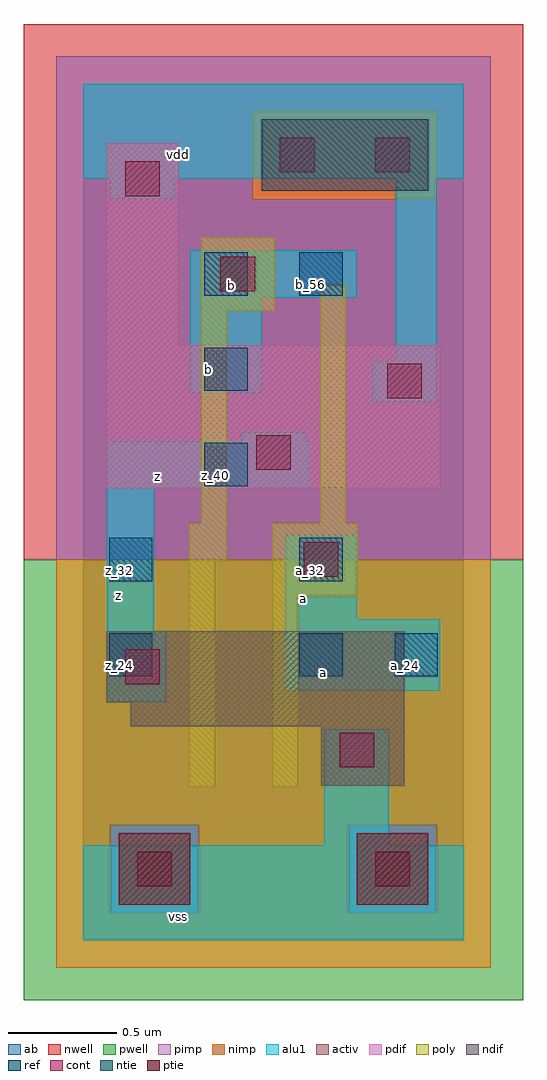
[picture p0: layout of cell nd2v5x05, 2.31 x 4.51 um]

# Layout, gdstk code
import gdstk
lib = gdstk.Library(unit=1e-6, precision=2.5e-09)
def R(c, l, rs):  # rectangles x0, y0, x1, y1
    for r in rs: c.add(gdstk.rectangle(r[:2], r[2:], *l))
def A(c, l, x, y, w, h, nx, ny, dx, dy):  # array of equal rectangles
    R(c, l, [(x+i*dx, y+j*dy, x+i*dx+w, y+j*dy+h) for i in range(nx) for j in range(ny)])
ndif = (3, 0)
pdif = (4, 0)
ntie = (5, 0)
ptie = (6, 0)
ref = (24, 0)
cont = (25, 0)
pwell = (41, 0)
nwell = (42, 0)
activ = (43, 0)
pimp = (44, 0)
nimp = (45, 0)
poly = (46, 0)
alu1 = (49, 0)
ab = (63, 0)

nd2v5x05 = lib.new_cell('nd2v5x05')
R(nd2v5x05, ndif, [(1.1,0.715,1.485,0.99), (0.22,0.99,1.485,1.1), (0.11,1.1,1.485,1.43)])
R(nd2v5x05, pdif, [(0.11,2.09,1.65,2.75), (0.11,2.75,0.44,3.685)])
R(nd2v5x05, ntie, [(0.825,3.465,1.595,3.795)])
R(nd2v5x05, ptie, [(0.165,0.165,0.495,0.495), (1.265,0.165,1.595,0.495)])
A(nd2v5x05, ref, 0.56, 2.1, 0.2, 0.2, 1, 3, 0, 0.44)
R(nd2v5x05, ref, [(0.12,1.22,0.32,1.42), (1,1.22,1.2,1.42), (1.44,1.22,1.64,1.42), (0.12,1.66,0.32,1.86), (1,1.66,1.2,1.86), (1,2.98,1.2,3.18)])
R(nd2v5x05, cont, [(0.25,0.25,0.41,0.41), (1.35,0.25,1.51,0.41), (1.185,0.8,1.345,0.96), (0.195,1.185,0.355,1.345), (1.02,1.68,1.18,1.84), (0.8,2.175,0.96,2.335), (1.405,2.505,1.565,2.665), (0.635,3,0.795,3.16), (0.195,3.44,0.355,3.6), (0.91,3.55,1.07,3.71), (1.35,3.55,1.51,3.71)])
R(nd2v5x05, pwell, [(-0.275,-0.275,2.035,1.76)])
R(nd2v5x05, nwell, [(-0.275,1.76,2.035,4.235)])
R(nd2v5x05, activ, [(0.165,0.165,0.495,0.495), (1.265,0.165,1.595,0.495), (1.1,0.715,1.485,0.99), (0.22,0.99,1.485,1.1), (0.11,1.1,1.485,1.43), (0.11,2.09,1.65,2.75), (0.11,2.75,0.44,3.685), (0.825,3.465,1.595,3.795)])
R(nd2v5x05, pimp, [(0.125,0.125,0.535,0.535), (1.225,0.125,1.635,0.535), (-0.125,1.76,1.885,3.425), (-0.125,3.425,0.785,3.835), (1.635,3.425,1.885,3.835), (-0.125,3.835,1.885,4.085)])
R(nd2v5x05, nimp, [(-0.125,-0.125,1.885,0.125), (-0.125,0.125,0.125,0.535), (0.535,0.125,1.225,0.535), (1.635,0.125,1.885,0.535), (-0.125,0.535,1.885,1.76), (0.785,3.425,1.635,3.835)])
R(nd2v5x05, poly, [(0.49,0.71,0.61,1.755), (0.875,0.71,0.995,1.59), (0.875,1.59,1.27,1.93), (0.49,1.755,0.665,1.93), (0.545,1.93,0.665,2.91), (1.095,1.93,1.215,3.03), (0.545,2.91,0.885,3.25)])
R(nd2v5x05, alu1, [(0,0,1.76,0.44), (1.115,0.44,1.415,0.975), (0.11,1.1,0.385,1.43), (0.935,1.155,1.65,1.485), (0.11,1.43,0.33,2.09), (0.935,1.485,1.265,1.87), (0.11,2.09,1.045,2.31), (0.73,2.31,1.03,2.35), (1.335,2.49,1.635,2.68), (0.495,2.53,0.825,2.97), (1.445,2.68,1.635,3.52), (0.495,2.97,1.265,3.19), (0.125,3.425,0.425,3.52), (0,3.52,1.76,3.96)])
R(nd2v5x05, ab, [(0,0,1.76,3.96)])
nd2v5x05.add(gdstk.Label('vss', (0.44,0.11), layer=49, texttype=0))
nd2v5x05.add(gdstk.Label('a', (1.1125,1.2375), layer=49, texttype=0))
nd2v5x05.add(gdstk.Label('a', (1.0175,1.58), layer=49, texttype=0))
nd2v5x05.add(gdstk.Label('z', (0.165,1.595), layer=49, texttype=0))
nd2v5x05.add(gdstk.Label('z', (0.3425,2.145), layer=49, texttype=0))
nd2v5x05.add(gdstk.Label('b', (0.5775,2.64), layer=49, texttype=0))
nd2v5x05.add(gdstk.Label('b', (0.6875,3.025), layer=49, texttype=0))
nd2v5x05.add(gdstk.Label('vdd', (0.44,3.63), layer=49, texttype=0))
nd2v5x05.add(gdstk.Label('a_24', (1.49,1.27), layer=24, texttype=0))
nd2v5x05.add(gdstk.Label('z_32', (0.17,1.71), layer=24, texttype=0))
nd2v5x05.add(gdstk.Label('z_24', (0.17,1.27), layer=24, texttype=0))
nd2v5x05.add(gdstk.Label('a_32', (1.05,1.71), layer=24, texttype=0))
nd2v5x05.add(gdstk.Label('a_24', (1.05,1.27), layer=24, texttype=0))
nd2v5x05.add(gdstk.Label('b_56', (0.61,3.03), layer=24, texttype=0))
nd2v5x05.add(gdstk.Label('b_48', (0.61,2.59), layer=24, texttype=0))
nd2v5x05.add(gdstk.Label('z_40', (0.61,2.15), layer=24, texttype=0))
nd2v5x05.add(gdstk.Label('b_56', (1.05,3.03), layer=24, texttype=0))

lib.write_gds('nd2v5x05.gds')
